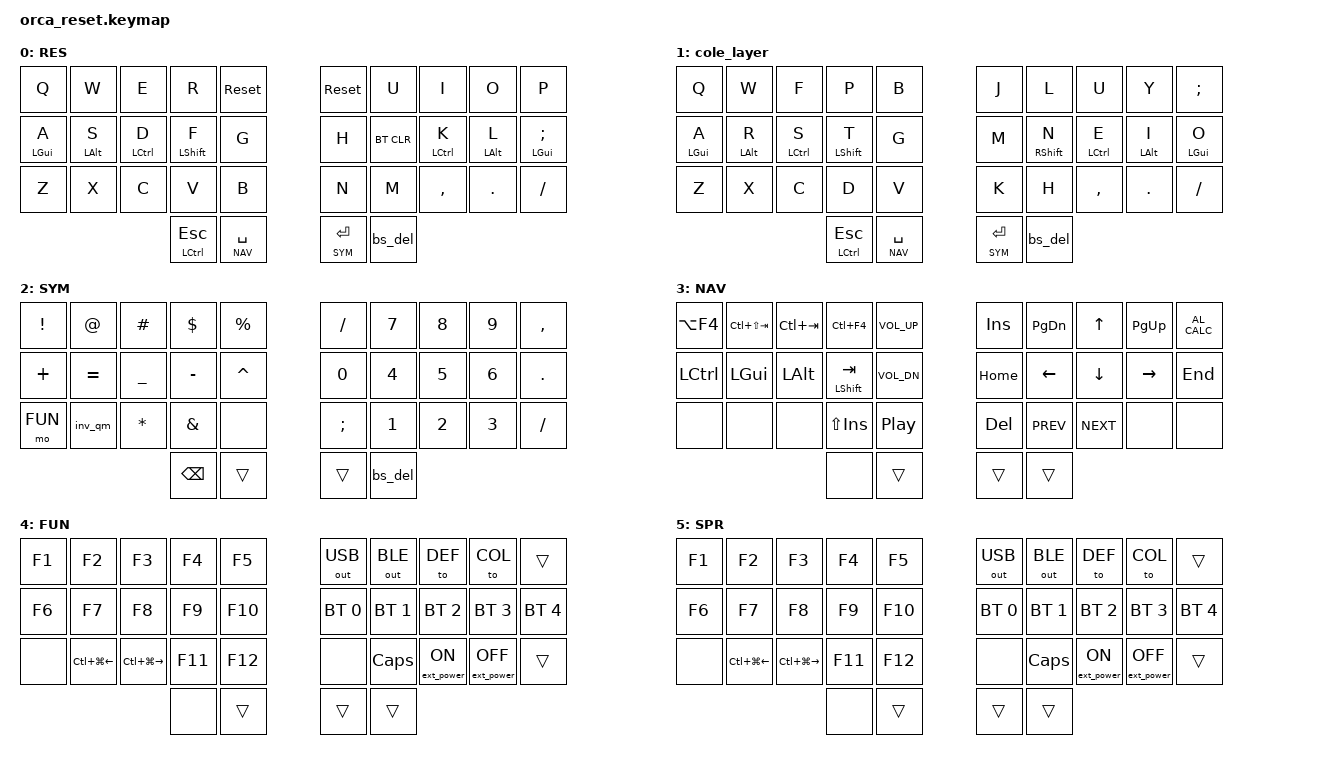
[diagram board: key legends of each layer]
/* 
 *  Created by Hugh Lam (2024)
 *
 *  orca keymap
 *  this keymap is specifically for resetting the device and flashing to new boards
 */

 #include <behaviors.dtsi>
 #include <dt-bindings/zmk/keys.h>
 #include <dt-bindings/zmk/bt.h>
 #include <dt-bindings/zmk/ext_power.h>
 #include <dt-bindings/zmk/rgb.h>

// Layer defines
#define RES 0
#define COL 1
#define SYM 2       // Commonly used symbols, such as theta, omega, beta, alpha, etc
#define NAV 3       // arrow keys, PGUP/PGDN, back, forward, window swappers, 
#define FUN 4       
#define SYS 5
#define MOU 6

// Desktop window management and tab nav shortcuts
#define D_LT   LC(LG(LEFT))     // move desktop left
#define D_RT   LC(LG(RIGHT))    // move desktop right       
#define TAB_RT LC(TAB)          // tab switcher forward/right
#define TAB_LT LC(LS(TAB))      // tab switcher left/back
//Extra key binds
#define SWP_POS 
// behaviour customization
&mt {
    flavor = "hold-preferred";
    tapping-term-ms = <200>;
};

&lt {
    flavor = "balanced";
    tapping-term-ms = <200>;
};

&caps_word {
    continue-list = <UNDERSCORE MINUS BSPC DEL N1 N2 N3 N4 N5 N6 N7 N8 N9 N0>;
};

// &led_strip {
//     chain-length = <17>;
// };


/ {
    behaviors {
        // // Swapper function (may require zmk PR#1366)
        // swapper: swapper {
        //     compatible = "zmk,behaviour-tri-state";
        //     #binding-cells = <0>;
        //     bindings = <&kt LALT>, <&kp TAB>, <&kt LALT>;
        //     ignored-key-positions = <SWP_POS>; 
        // };
    // tap: backspace | lshft + tap: delete | rshft + tap: shift-delete
        bs_del: backspace_delete {
            compatible = "zmk,behavior-mod-morph";
            #binding-cells = <0>;
            bindings = <&kp BSPC>, <&kp DEL>;
            mods = <(MOD_LSFT|MOD_RSFT)>;
            keep-mods = <MOD_RSFT>;
        };
    };

    // macros
    macros {
        ZMK_MACRO(inv_qm,
            wait-ms = <10>;
            tap-ms = <10>;
            bindings
                = <&macro_press &kp LALT>
                , <&macro_tap &kp KP_N1 &kp KP_N6 &kp KP_N8>
                , <&macro_release &kp LALT>;
        )
        // ZMK_MACRO(alt_tabber,  // adapted from @moutis on ZMK Discord
        //     wait-ms = <10>;
        //     tap-ms = <10>;
        //     bindings = <&macro_press &kp LALT>    // leave ALT down to keep menu up
        //              , <&macro_tap &kp TAB>       // open the menu
        //              , <&macro_pause_for_release> // wait until key release
        //              , <&macro_tap &sk_at RALT>   // start timer to release ALT after timeout
        //              , <&macro_release &kp LALT>; // now release the initial hold
        // )
    };

    // keymap visual
     /* 
          ╭───────────────────────╮         ╭───────────────────────╮
          │      0   1   2   3   4│         │ 5   6   7   8   9     │
          │     10  11  12  13  14│         │25  16  17  18  19     │
          │     20  21  22  23  24 ───╮ ╭─── 25  26  27  28  29     │
          ╰─────────────────╮  30  31 │ │ 32  33 ╭──────────────────╯
                            ╰─────────╯ ╰────────╯           
        */
    keymap {
        compatible = "zmk,keymap";

        reset_layer {
            display-name = "RES";

            bindings = <
&kp Q       &kp W       &kp E       &kp R           &sys_reset              &sys_reset       &kp U           &kp I           &kp O           &kp P
&mt LGUI A  &mt LALT S  &mt LCTRL D &mt LSHFT F     &kp G                   &kp H       &bt BT_CLR      &mt LCTRL K     &mt LALT L      &mt LGUI SEMI   
&kp Z       &kp X       &kp C       &kp V           &kp B                   &kp N       &kp M           &kp COMMA       &kp DOT         &kp FSLH
                                    &mt LCTRL ESC   &lt NAV SPC             &lt SYM RET &bs_del
            
            >;

        };

        cole_layer {
			bindings = <
&kp Q       &kp W       &kp F       &kp P            &kp B                       &kp J           &kp L        &kp U        &kp Y       &kp SEMI
&mt LGUI A  &mt LALT R  &mt LCTRL S &mt LSHFT T      &kp G                       &kp M           &mt RSHFT N  &mt LCTRL E  &mt LALT I  &mt LGUI O     
&kp Z       &kp X       &kp C       &kp D            &kp V                       &kp K           &kp H        &kp COMMA    &kp DOT     &kp FSLH
                                    &mt LCTRL ESC    &lt NAV SPC                 &lt SYM RET     &bs_del
			>;
        };

        symbol_layer {
            display-name = "SYM";
            bindings = <
&kp EXCL    &kp AT      &kp HASH    &kp DLLR        &kp PRCNT               &kp SLASH       &kp N7      &kp N8      &kp N9      &kp COMMA 
&kp PLUS    &kp EQUAL   &kp UNDER   &kp MINUS       &kp CARET               &kp N0          &kp N4      &kp N5      &kp N6      &kp DOT   
&mo FUN     &inv_qm     &kp STAR    &kp AMPS        &none                   &kp SEMI        &kp N1      &kp N2      &kp N3      &kp SLASH 
                                    &kp BSPC        &trans                  &trans          &bs_del                               
            >;
        };

        nav_layer {
            display-name = "NAV";
            bindings = <
&kp LA(F4)  &kp TAB_LT  &kp TAB_RT  &kp LC(F4)      &kp C_VOL_UP            &kp INS         &kp PG_DN   &kp UP       &kp PG_UP  &kp C_AL_CALC 
&kp LCTRL   &kp LGUI    &kp LALT    &mt LSHFT TAB   &kp C_VOL_DN            &kp HOME        &kp LEFT    &kp DOWN     &kp RIGHT  &kp END       
&none       &none       &none       &kp LS(INS)     &kp C_PP                &kp DEL         &kp C_PREV  &kp C_NEXT   &none      &none              
                                    &none           &trans                  &trans          &trans 
            >;

        };

        fun_layer {
            display-name = "FUN";
            bindings = <
&kp F1      &kp F2      &kp F3      &kp F4          &kp F5                  &out OUT_USB    &out OUT_BLE    &to DEF             &to COL             &trans
&kp F6      &kp F7      &kp F8      &kp F9          &kp F10                 &bt BT_SEL 0    &bt BT_SEL 1    &bt BT_SEL 2        &bt BT_SEL 3        &bt BT_SEL 4
&none       &kp D_LT    &kp D_RT    &kp F11         &kp F12                 &none           &kp CAPS        &ext_power EP_ON    &ext_power EP_OFF   &trans
                                    &none           &trans                  &trans          &trans 
            >;

        };

        spare_layer {
            display-name = "SPR";
            bindings = <
&kp F1      &kp F2      &kp F3      &kp F4          &kp F5                  &out OUT_USB    &out OUT_BLE    &to DEF             &to COL             &trans
&kp F6      &kp F7      &kp F8      &kp F9          &kp F10                 &bt BT_SEL 0    &bt BT_SEL 1    &bt BT_SEL 2        &bt BT_SEL 3        &bt BT_SEL 4
&none       &kp D_LT    &kp D_RT    &kp F11         &kp F12                 &none           &kp CAPS        &ext_power EP_ON    &ext_power EP_OFF   &trans
                                    &none           &trans                  &trans          &trans 
            
            
            
            >;
        }
    };
};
